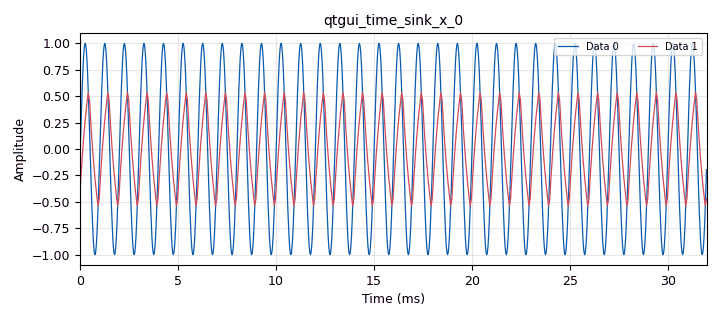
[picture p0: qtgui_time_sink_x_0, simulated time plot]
<?xml version='1.0' encoding='utf-8'?>
<?grc format='1' created='3.7.10'?>
<flow_graph>
<block>
<key>options</key>
<param><key>id</key><value>ContinuouslyVariableSlopeDeltaModulation</value></param>
<param><key>author</key><value>Alexandros-Apostolos A. Boulogeorgos</value></param>
<param><key>description</key><value>Continuously Variable Slope Delta Modulation Implementation in GNURadio</value></param>
<param><key>generate_options</key><value>qt_gui</value></param>
<param><key>title</key><value>Continuously Variable Slope Delta Modulation</value></param>
</block>
<block>
<key>variable_qtgui_range</key>
<param><key>id</key><value>fr</value></param>
<param><key>value</key><value>0.5</value></param>
<param><key>label</key><value>Frac. Bandwidht</value></param>
<param><key>orient</key><value>Qt.Horizontal</value></param>
<param><key>start</key><value>0.1</value></param>
<param><key>step</key><value>0.1</value></param>
<param><key>stop</key><value>100</value></param>
</block>
<block>
<key>variable_qtgui_chooser</key>
<param><key>id</key><value>resampler</value></param>
<param><key>value</key><value>2</value></param>
<param><key>label0</key><value>2</value></param>
<param><key>label1</key><value>4</value></param>
<param><key>label2</key><value>8</value></param>
<param><key>label3</key><value>16</value></param>
<param><key>label</key><value>Resampler</value></param>
<param><key>num_opts</key><value>4</value></param>
<param><key>option0</key><value>2</value></param>
<param><key>option1</key><value>4</value></param>
<param><key>option2</key><value>8</value></param>
<param><key>option3</key><value>16</value></param>
<param><key>orient</key><value>Qt.QHBoxLayout</value></param>
<param><key>type</key><value>int</value></param>
<param><key>widget</key><value>radio_buttons</value></param>
</block>
<block>
<key>variable</key>
<param><key>id</key><value>samp_rate</value></param>
<param><key>value</key><value>32000</value></param>
</block>
<block>
<key>analog_sig_source_x</key>
<param><key>id</key><value>analog_sig_source_x_0</value></param>
<param><key>amp</key><value>1</value></param>
<param><key>freq</key><value>1000</value></param>
<param><key>offset</key><value>0</value></param>
<param><key>type</key><value>float</value></param>
<param><key>samp_rate</key><value>samp_rate</value></param>
<param><key>waveform</key><value>analog.GR_SIN_WAVE</value></param>
</block>
<block>
<key>audio_sink</key>
<param><key>id</key><value>audio_sink_0</value></param>
<param><key>_enabled</key><value>0</value></param>
<param><key>samp_rate</key><value>samp_rate</value></param>
</block>
<block>
<key>blocks_throttle</key>
<param><key>id</key><value>blocks_throttle_0</value></param>
<param><key>samples_per_second</key><value>samp_rate</value></param>
<param><key>type</key><value>float</value></param>
</block>
<block>
<key>blocks_vco_f</key>
<param><key>id</key><value>blocks_vco_f_0</value></param>
<param><key>amplitude</key><value>0.005</value></param>
<param><key>_enabled</key><value>0</value></param>
<param><key>samp_rate</key><value>samp_rate</value></param>
<param><key>sensitivity</key><value>50265.5</value></param>
</block>
<block>
<key>qtgui_time_sink_x</key>
<param><key>id</key><value>qtgui_time_sink_x_0</value></param>
<param><key>autoscale</key><value>True</value></param>
<param><key>grid</key><value>True</value></param>
<param><key>color1</key><value>"blue"</value></param>
<param><key>label1</key><value></value></param>
<param><key>color2</key><value>"red"</value></param>
<param><key>label2</key><value></value></param>
<param><key>nconnections</key><value>2</value></param>
<param><key>size</key><value>1024</value></param>
<param><key>srate</key><value>samp_rate</value></param>
<param><key>type</key><value>float</value></param>
</block>
<block>
<key>vocoder_cvsd_decode_bf</key>
<param><key>id</key><value>vocoder_cvsd_decode_bf_0</value></param>
<param><key>bw</key><value>fr</value></param>
<param><key>resample</key><value>resampler</value></param>
</block>
<block>
<key>vocoder_cvsd_encode_fb</key>
<param><key>id</key><value>vocoder_cvsd_encode_fb_0</value></param>
<param><key>bw</key><value>fr</value></param>
<param><key>resample</key><value>resampler</value></param>
</block>
<connection><source_block_id>analog_sig_source_x_0</source_block_id><sink_block_id>blocks_throttle_0</sink_block_id><source_key>0</source_key><sink_key>0</sink_key></connection>
<connection><source_block_id>analog_sig_source_x_0</source_block_id><sink_block_id>qtgui_time_sink_x_0</sink_block_id><source_key>0</source_key><sink_key>0</sink_key></connection>
<connection><source_block_id>blocks_throttle_0</source_block_id><sink_block_id>vocoder_cvsd_encode_fb_0</sink_block_id><source_key>0</source_key><sink_key>0</sink_key></connection>
<connection><source_block_id>vocoder_cvsd_decode_bf_0</source_block_id><sink_block_id>audio_sink_0</sink_block_id><source_key>0</source_key><sink_key>0</sink_key></connection>
<connection><source_block_id>vocoder_cvsd_decode_bf_0</source_block_id><sink_block_id>qtgui_time_sink_x_0</sink_block_id><source_key>0</source_key><sink_key>1</sink_key></connection>
<connection><source_block_id>vocoder_cvsd_encode_fb_0</source_block_id><sink_block_id>vocoder_cvsd_decode_bf_0</sink_block_id><source_key>0</source_key><sink_key>0</sink_key></connection>
</flow_graph>
